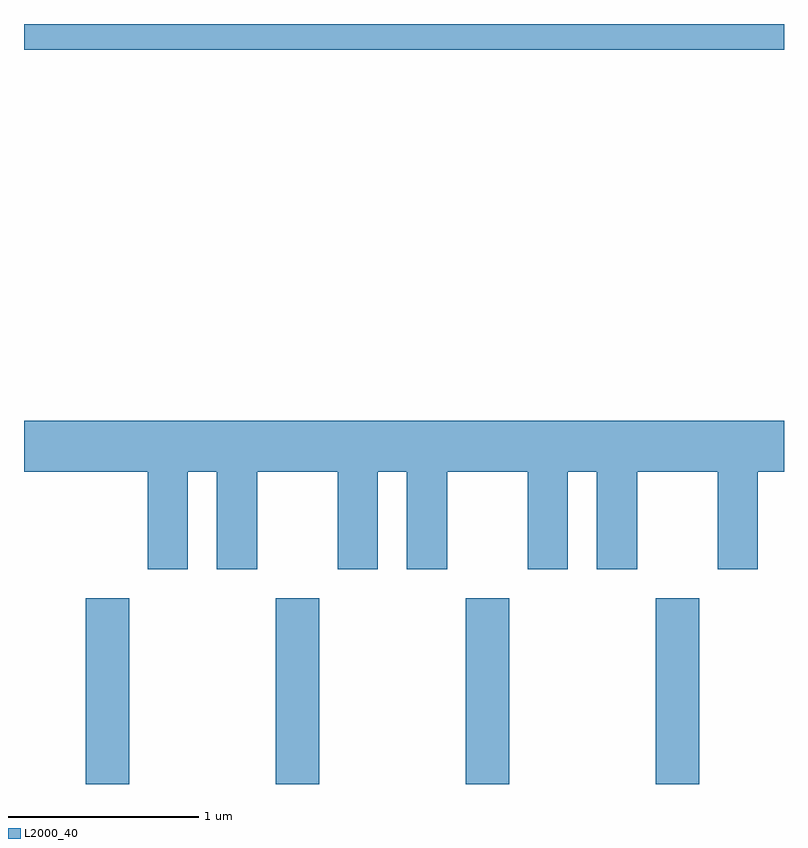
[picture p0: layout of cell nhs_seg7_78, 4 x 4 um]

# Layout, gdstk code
import gdstk
lib = gdstk.Library(unit=1e-6, precision=1e-09)
def R(c, l, rs):  # rectangles x0, y0, x1, y1
    for r in rs: c.add(gdstk.rectangle(r[:2], r[2:], *l))
def A(c, l, x, y, w, h, nx, ny, dx, dy):  # array of equal rectangles
    R(c, l, [(x+i*dx, y+j*dy, x+i*dx+w, y+j*dy+h) for i in range(nx) for j in range(ny)])
def P(c, l, *ps):  # polygons
    for p in ps: c.add(gdstk.Polygon(p, *l))
L2000_40 = (2000, 40)

nhs_seg7_78 = lib.new_cell('nhs_seg7_78')
A(nhs_seg7_78, L2000_40, 187.936, 1688.252, 0.228, 0.977, 4, 1, 1, 0)
R(nhs_seg7_78, L2000_40, [(187.611,1692.116,191.611,1692.252)])
P(nhs_seg7_78, L2000_40, [(188.474,1689.896),(188.626,1689.896),(188.626,1689.381),(188.839,1689.381),(188.839,1689.896),(189.261,1689.896),(189.261,1689.381),(189.474,1689.381),(189.474,1689.896),(189.626,1689.896),(189.626,1689.381),(189.839,1689.381),(189.839,1689.896),(190.261,1689.896),(190.261,1689.381),(190.474,1689.381),(190.474,1689.896),(190.626,1689.896),(190.626,1689.381),(190.839,1689.381),(190.839,1689.896),(191.261,1689.896),(191.261,1689.381),(191.474,1689.381),(191.474,1689.896),(191.611,1689.896),(191.611,1690.164),(187.611,1690.164),(187.611,1689.896),(188.261,1689.896),(188.261,1689.381),(188.474,1689.381)])

lib.write_gds('nhs_seg7_78.gds')
